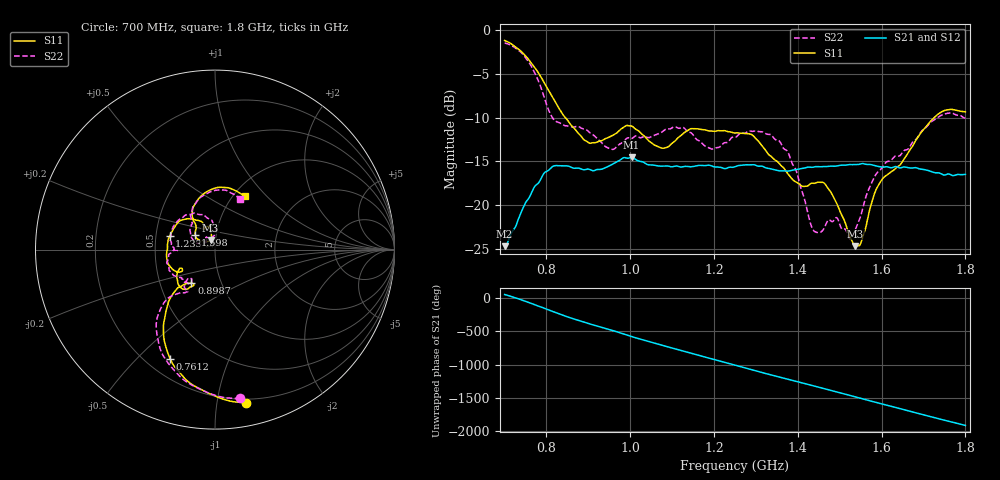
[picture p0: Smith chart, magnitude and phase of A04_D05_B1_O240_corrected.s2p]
! Created with skrf 1.9.0 (http://scikit-rf.org).
# Hz S RI R 50.0
!freq ReS11 ImS11 ReS21 ImS21 ReS12 ImS12 ReS22 ImS22
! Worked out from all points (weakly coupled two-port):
!   1601 points, 700 MHz to 1.8 GHz, reference 50 ohm
!   highest |S21| = -14.54 dB at 1.003 GHz (marker M1); lowest = -24.7 dB at 700 MHz (marker M2)
!   lowest |S11| = -24.6 dB at 1.537 GHz (marker M3), VSWR 1.12, Z = 47.3 + j5.05 ohm
!   |S11| at or under -10 dB: 845 MHz to 1.725 GHz (880.5 MHz wide, 68.5 % of centre)
!   |S22| runs from -23.9 to -1.5 dB; largest |S21 - S12| = 0.0036
!   S11 on the Smith chart (normalised r, x): 700 MHz: 0.17, -1.20; 761.2 MHz: 0.29, -0.63; 898.7 MHz: 0.72, -0.29; 1.233 GHz: 0.59, +0.09; 1.598 GHz: 0.79, +0.13; 1.8 GHz: 1.12, +0.76
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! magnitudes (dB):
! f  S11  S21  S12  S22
! 700 MHz  -1.2  -24.7  -24.4  -1.5
! 761.2 MHz  -3.6  -18.9  -18.8  -3.9
! 816.9 MHz  -7.9  -15.5  -15.6  -10.2
! 883.6 MHz  -12.2  -15.9  -15.8  -11.2
! 898.7 MHz  -12.8  -15.9  -15.9  -11.5
! 955.1 MHz  -12.1  -15.4  -15.4  -13.6
! 1.003 GHz  -11.0  -14.5  -14.7  -12.4
! 1.067 GHz  -13.3  -15.5  -15.5  -11.8
! 1.145 GHz  -11.3  -15.6  -15.6  -11.8
! 1.193 GHz  -11.5  -15.5  -15.5  -13.6
! 1.233 GHz  -11.6  -15.7  -15.7  -12.8
! 1.25 GHz  -11.8  -15.6  -15.5  -12.2
! 1.357 GHz  -15.3  -16.1  -16.0  -12.7
! 1.396 GHz  -17.3  -15.9  -15.9  -16.0
! 1.434 GHz  -17.5  -15.7  -15.6  -22.5
! 1.475 GHz  -18.2  -15.5  -15.6  -21.7
! 1.537 GHz  -24.6  -15.3  -15.3  -22.8
! 1.552 GHz  -24.1  -15.3  -15.3  -20.9
! 1.598 GHz  -17.3  -15.6  -15.6  -15.9
! 1.617 GHz  -16.4  -15.7  -15.6  -15.0
! 1.733 GHz  -9.7  -16.3  -16.3  -10.0
! 1.8 GHz  -9.3  -16.5  -16.5  -10.1
